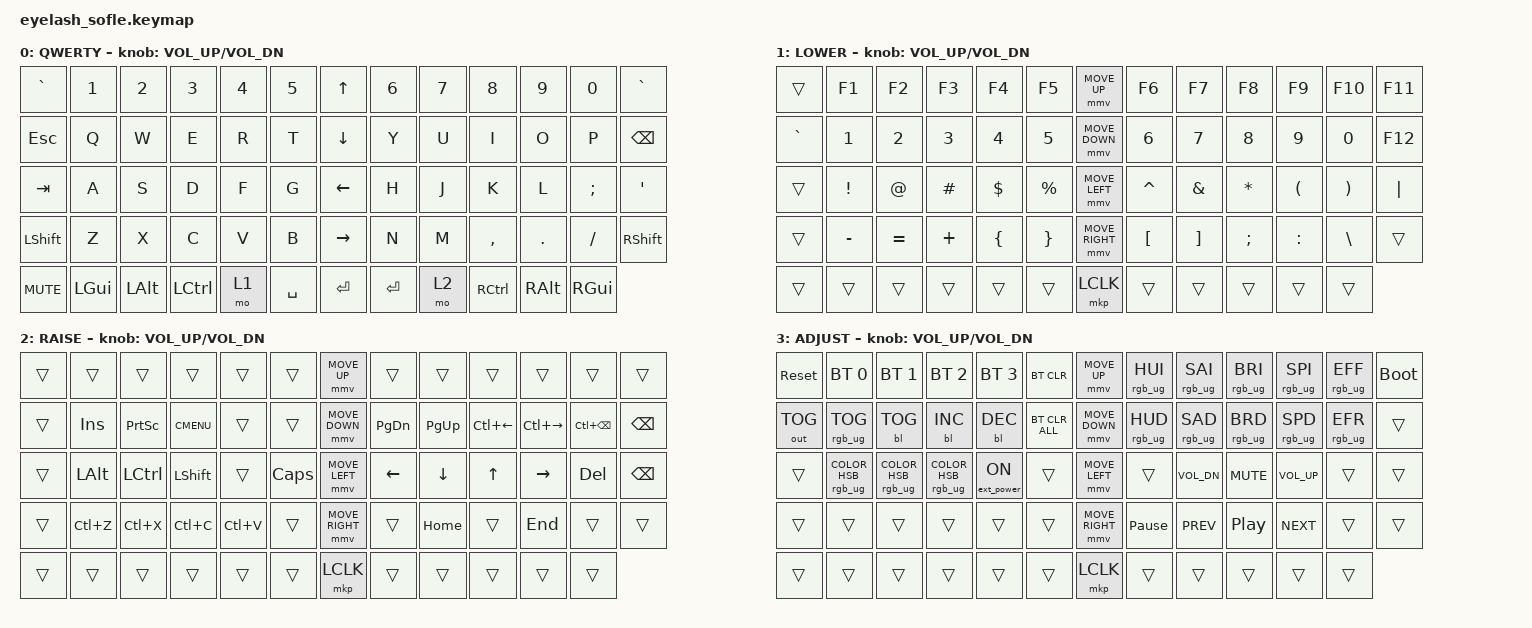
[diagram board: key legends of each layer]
#define ZMK_POINTING_DEFAULT_MOVE_VAL 1200
#define ZMK_POINTING_DEFAULT_SCRL_VAL 25

#include <input/processors.dtsi>
#include <zephyr/dt-bindings/input/input-event-codes.h>
#include <behaviors.dtsi>
#include <dt-bindings/zmk/bt.h>
#include <dt-bindings/zmk/keys.h>
#include <dt-bindings/zmk/outputs.h>
#include <dt-bindings/zmk/pointing.h>
#include <dt-bindings/zmk/rgb.h>
#include <dt-bindings/zmk/backlight.h>
#include <dt-bindings/zmk/ext_power.h>

&mmv_input_listener { input-processors = <&zip_xy_scaler 2 1>; };
&msc_input_listener { input-processors = <&zip_scroll_scaler 2 1>; };

&msc {
    acceleration-exponent = <1>;
    time-to-max-speed-ms = <100>;
    delay-ms = <0>;
};

&mmv {
    time-to-max-speed-ms = <500>;
    acceleration-exponent = <1>;
    trigger-period-ms = <16>;
};

/ {
    scroll_encoder: scroll_encoder {
        compatible = "zmk,behavior-sensor-rotate";
        #sensor-binding-cells = <0>;
        bindings = <&msc SCRL_DOWN>, <&msc SCRL_UP>;
        tap-ms = <100>;
    };

    // CONDITIONAL LAYERS - Makes LOWER + RAISE = ADJUST
    conditional_layers {
        compatible = "zmk,conditional-layers";
        tri_layer {
            if-layers = <1 2>;
            then-layer = <3>;
        };
    };

    keymap {
        compatible = "zmk,keymap";

        // LAYER 0: QWERTY (Base)
        QWERTY {
            bindings = <
&kp GRAVE  &kp N1    &kp N2    &kp N3     &kp N4    &kp N5       &kp UP        &kp N6     &kp N7     &kp N8     &kp N9     &kp N0    &kp GRAVE
&kp ESC    &kp Q     &kp W     &kp E      &kp R     &kp T        &kp DOWN      &kp Y      &kp U      &kp I      &kp O      &kp P     &kp BSPC
&kp TAB    &kp A     &kp S     &kp D      &kp F     &kp G        &kp LEFT      &kp H      &kp J      &kp K      &kp L      &kp SEMI  &kp SQT
&kp LSHFT  &kp Z     &kp X     &kp C      &kp V     &kp B        &kp RIGHT     &kp N      &kp M      &kp COMMA  &kp DOT    &kp FSLH  &kp RSHFT
&kp C_MUTE &kp LGUI  &kp LALT  &kp LCTRL  &mo 1     &kp SPACE    &kp ENTER     &kp ENTER  &mo 2      &kp RCTRL  &kp RALT   &kp RGUI
            >;
            sensor-bindings = <&inc_dec_kp C_VOL_UP C_VOL_DN>;
            display-name = "QWERTY";
        };

        // LAYER 1: LOWER (Symbols & F-keys)
        LOWER {
            bindings = <
&trans     &kp F1     &kp F2     &kp F3     &kp F4     &kp F5       &mmv MOVE_UP    &kp F6     &kp F7     &kp F8     &kp F9     &kp F10    &kp F11
&kp GRAVE  &kp N1     &kp N2     &kp N3     &kp N4     &kp N5       &mmv MOVE_DOWN  &kp N6     &kp N7     &kp N8     &kp N9     &kp N0     &kp F12
&trans     &kp EXCL   &kp AT     &kp HASH   &kp DLLR   &kp PRCNT    &mmv MOVE_LEFT  &kp CARET  &kp AMPS   &kp ASTRK  &kp LPAR   &kp RPAR   &kp PIPE
&trans     &kp MINUS  &kp EQUAL  &kp PLUS   &kp LBRC   &kp RBRC     &mmv MOVE_RIGHT &kp LBKT   &kp RBKT   &kp SEMI   &kp COLON  &kp BSLH   &trans
&trans     &trans     &trans     &trans     &trans     &trans       &mkp LCLK       &trans     &trans     &trans     &trans     &trans
            >;
            sensor-bindings = <&inc_dec_kp C_VOL_UP C_VOL_DN>;
            display-name = "LOWER";
        };

        // LAYER 2: RAISE (Navigation)
        RAISE {
            bindings = <
&trans  &trans    &trans    &trans         &trans     &trans       &mmv MOVE_UP    &trans     &trans     &trans            &trans            &trans           &trans
&trans  &kp INS   &kp PSCRN &kp K_CMENU    &trans     &trans       &mmv MOVE_DOWN  &kp PG_DN  &kp PG_UP  &kp LC(LEFT)      &kp LC(RIGHT)     &kp LC(BSPC)     &kp BSPC
&trans  &kp LALT  &kp LCTRL &kp LSHFT      &trans     &kp CAPS     &mmv MOVE_LEFT  &kp LEFT   &kp DOWN   &kp UP            &kp RIGHT         &kp DEL          &kp BSPC
&trans  &kp LC(Z) &kp LC(X) &kp LC(C)      &kp LC(V)  &trans       &mmv MOVE_RIGHT &trans     &kp HOME   &trans            &kp END           &trans           &trans
&trans  &trans    &trans    &trans         &trans     &trans       &mkp LCLK       &trans     &trans     &trans            &trans            &trans
            >;
            sensor-bindings = <&inc_dec_kp C_VOL_UP C_VOL_DN>;
            display-name = "RAISE";
        };

        // LAYER 3: ADJUST (Settings - RGB + Media Keys)
        ADJUST {
            bindings = <
&sys_reset     &bt BT_SEL 0       &bt BT_SEL 1     &bt BT_SEL 2     &bt BT_SEL 3     &bt BT_CLR        &mmv MOVE_UP    &rgb_ug RGB_HUI  &rgb_ug RGB_SAI  &rgb_ug RGB_BRI  &rgb_ug RGB_SPI  &rgb_ug RGB_EFF  &bootloader
&out OUT_TOG   &rgb_ug RGB_TOG    &bl BL_TOG       &bl BL_INC       &bl BL_DEC       &bt BT_CLR_ALL    &mmv MOVE_DOWN  &rgb_ug RGB_HUD  &rgb_ug RGB_SAD  &rgb_ug RGB_BRD  &rgb_ug RGB_SPD  &rgb_ug RGB_EFR  &trans
&trans         &rgb_ug RGB_COLOR_HSB(0,100,50)    &rgb_ug RGB_COLOR_HSB(120,100,50)  &rgb_ug RGB_COLOR_HSB(240,100,50)  &ext_power EP_ON  &trans   &mmv MOVE_LEFT  &trans  &kp C_VOL_DN  &kp C_MUTE  &kp C_VOL_UP  &trans  &trans
&trans         &trans             &trans           &trans           &trans           &trans            &mmv MOVE_RIGHT &kp PAUSE_BREAK  &kp C_PREV  &kp C_PLAY_PAUSE  &kp C_NEXT  &trans  &trans
&trans         &trans             &trans           &trans           &trans           &trans            &mkp LCLK       &trans           &trans      &trans            &trans      &trans
            >;
            sensor-bindings = <&inc_dec_kp C_VOL_UP C_VOL_DN>;
            display-name = "ADJUST";
        };
    };
};
